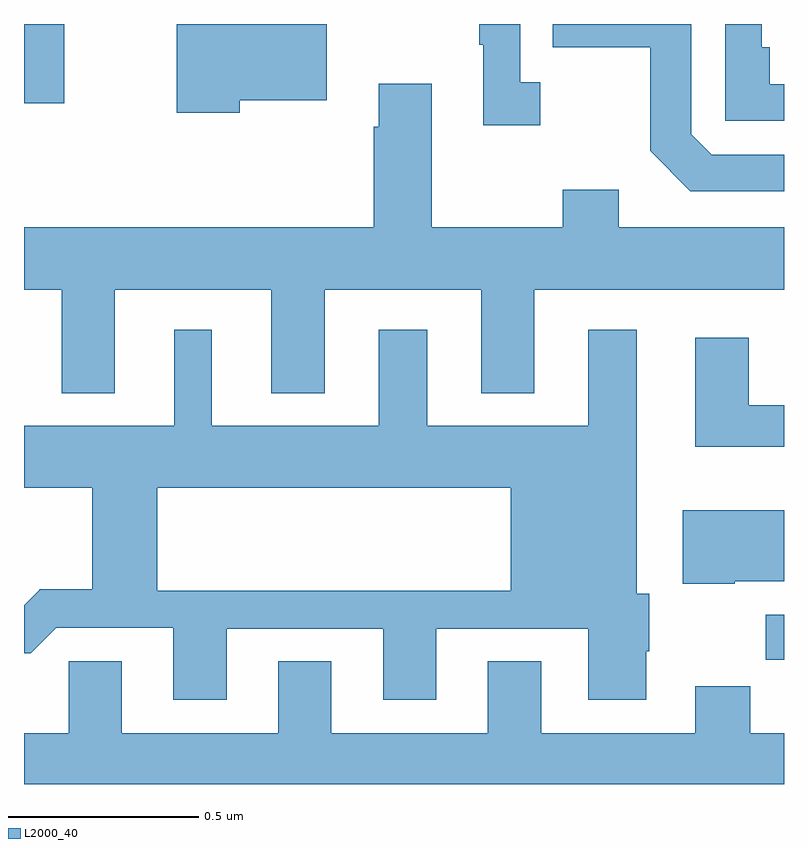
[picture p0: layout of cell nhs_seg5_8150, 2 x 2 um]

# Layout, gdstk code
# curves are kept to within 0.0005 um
import gdstk
lib = gdstk.Library(unit=1e-6, precision=1e-09)
def R(c, l, rs):  # rectangles x0, y0, x1, y1
    for r in rs: c.add(gdstk.rectangle(r[:2], r[2:], *l))
def P(c, l, *ps):  # polygons
    for p in ps: c.add(gdstk.Polygon(p, *l))
L2000_40 = (2000, 40)

nhs_seg5_8150 = lib.new_cell('nhs_seg5_8150')
R(nhs_seg5_8150, L2000_40, [(219.952,849.126,220,849.244), (218,850.59,218.106,850.799)])
P(nhs_seg5_8150, L2000_40, [(220,850.455),(219.81,850.455),(219.756,850.509),(219.756,850.799),(219.391,850.799),(219.391,850.738),(219.648,850.738),(219.648,850.465),(219.753,850.359),(220,850.359)],
  [(219.358,850.646),(219.306,850.646),(219.306,850.799),(219.198,850.799),(219.198,850.745),(219.209,850.745),(219.209,850.533),(219.358,850.533)],
  [(220,850.641),(219.962,850.641),(219.962,850.738),(219.942,850.738),(219.942,850.799),(219.846,850.799),(219.846,850.545),(220,850.545)],
  [(218.568,850.598),(218.797,850.598),(218.797,850.799),(218.402,850.799),(218.402,850.565),(218.568,850.565)],
  [(218.239,850.1),(218.651,850.1),(218.651,849.827),(218.791,849.827),(218.791,850.1),(219.203,850.1),(219.203,849.827),(219.343,849.827),(219.343,850.1),(220,850.1),(220,850.264),(219.565,850.264),(219.565,850.363),(219.418,850.363),(219.418,850.264),(219.073,850.264),(219.073,850.642),(218.933,850.642),(218.933,850.529),(218.921,850.529),(218.921,850.264),(218,850.264),(218,850.1),(218.099,850.1),(218.099,849.827),(218.239,849.827)],
  [(218,849.143),(218.018,849.143),(218.085,849.21),(218.393,849.21),(218.393,849.021),(218.533,849.021),(218.533,849.207),(218.945,849.207),(218.945,849.021),(219.085,849.021),(219.085,849.207),(219.485,849.207),(219.485,849.021),(219.637,849.021),(219.637,849.148),(219.645,849.148),(219.645,849.3),(219.613,849.3),(219.613,849.994),(219.485,849.994),(219.485,849.742),(219.061,849.742),(219.061,849.994),(218.933,849.994),(218.933,849.742),(218.494,849.742),(218.494,849.994),(218.396,849.994),(218.396,849.742),(218,849.742),(218,849.578),(218.18,849.578),(218.18,849.311),(218.042,849.311),(218.039,849.308),(218.351,849.308),(218.351,849.578),(219.281,849.578),(219.281,849.308),(218.039,849.308),(218,849.269)],
  [(220,849.796),(219.907,849.796),(219.907,849.973),(219.767,849.973),(219.767,849.686),(220,849.686)],
  [(219.87,849.332),(220,849.332),(220,849.52),(219.734,849.52),(219.734,849.326),(219.87,849.326)],
  [(220,848.932),(219.911,848.932),(219.911,849.056),(219.767,849.056),(219.767,848.932),(219.361,848.932),(219.361,849.122),(219.221,849.122),(219.221,848.932),(218.809,848.932),(218.809,849.122),(218.669,849.122),(218.669,848.932),(218.257,848.932),(218.257,849.122),(218.118,849.122),(218.118,848.932),(218,848.932),(218,848.799),(220,848.799)])

lib.write_gds('nhs_seg5_8150.gds')
